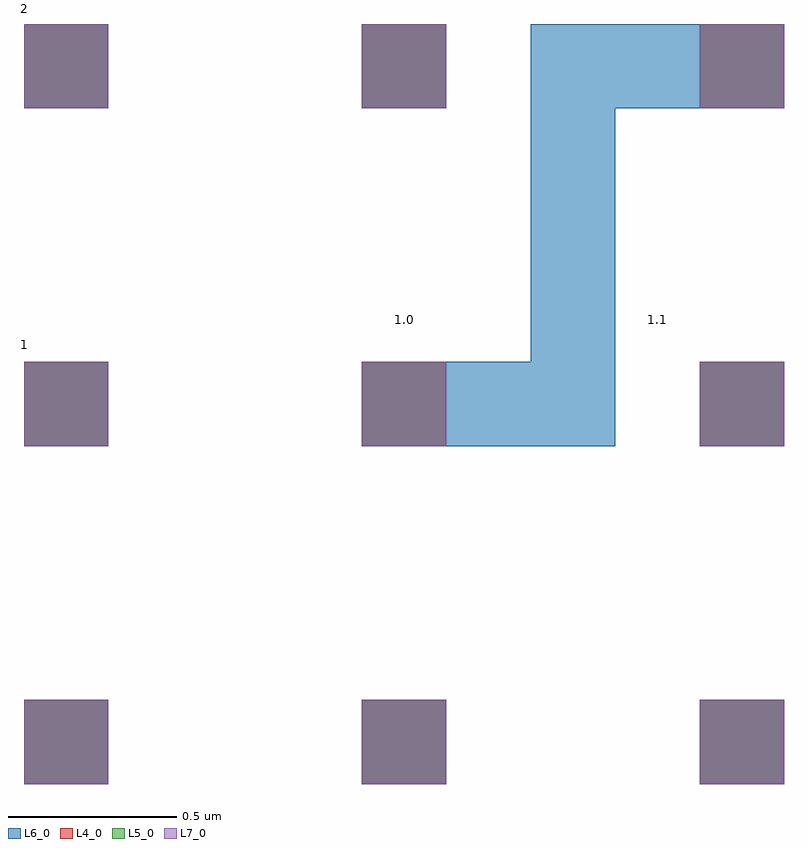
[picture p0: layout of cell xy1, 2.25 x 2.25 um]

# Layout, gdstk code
import gdstk
lib = gdstk.Library(unit=1e-6, precision=1e-09)
def R(c, l, rs):  # rectangles x0, y0, x1, y1
    for r in rs: c.add(gdstk.rectangle(r[:2], r[2:], *l))
def A(c, l, x, y, w, h, nx, ny, dx, dy):  # array of equal rectangles
    R(c, l, [(x+i*dx, y+j*dy, x+i*dx+w, y+j*dy+h) for i in range(nx) for j in range(ny)])
L4_0 = (4, 0)
L5_0 = (5, 0)
L6_0 = (6, 0)
L7_0 = (7, 0)

xy1 = lib.new_cell('xy1')
A(xy1, L4_0, 0, 0, 0.25, 0.25, 3, 3, 1, 1)
A(xy1, L5_0, 0, 0, 0.25, 0.25, 3, 3, 1, 1)
A(xy1, L6_0, 0, 0, 0.25, 0.25, 3, 3, 1, 1)
R(xy1, L6_0, [(1,1,1.75,1.25), (1.5,1.25,1.75,2.25), (1.75,2,2.25,2.25)])
A(xy1, L7_0, 0, 0, 0.25, 0.25, 3, 3, 1, 1)
xy1.add(gdstk.Label('0', (0,-0.125), layer=0, texttype=0))
xy1.add(gdstk.Label('1', (1,-0.125), layer=0, texttype=0))
xy1.add(gdstk.Label('2', (2,-0.125), layer=0, texttype=0))
xy1.add(gdstk.Label('1', (0,1.3), layer=0, texttype=0))
xy1.add(gdstk.Label('2', (0,2.3), layer=0, texttype=0))
xy1.add(gdstk.Label('1.0', (1.125,1.375), layer=0, texttype=0))
xy1.add(gdstk.Label('1.1', (1.875,1.375), layer=0, texttype=0))
xy1.add(gdstk.Label('1.2', (1.875,2.375), layer=0, texttype=0))

lib.write_gds('xy1.gds')
